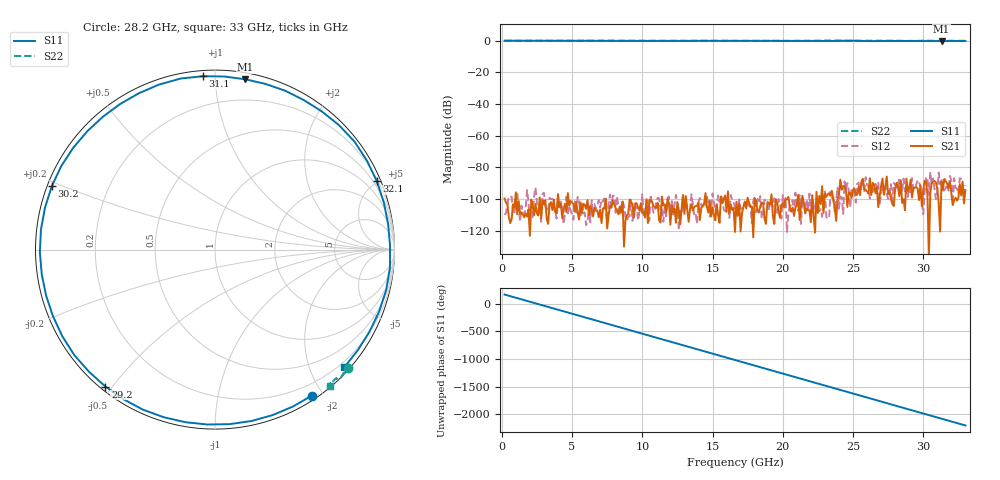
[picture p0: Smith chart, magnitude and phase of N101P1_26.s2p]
# GHZ S RI R 50
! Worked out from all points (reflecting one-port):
!   329 points, 200 MHz to 33 GHz, reference 50 ohm
!   lowest |S11| = -0.3 dB at 31.3 GHz (marker M1), VSWR 54.30, Z = 2.23 + j59.7 ohm
!   phase of S11 starts at 165 deg and turns -2368 deg over the sweep
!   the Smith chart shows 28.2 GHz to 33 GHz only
!   S11 on the Smith chart (normalised r, x): 28.2 GHz: 0.05, -1.86; 29.2 GHz: 0.01, -0.48; 30.2 GHz: 0.01, +0.19; 31.1 GHz: 0.03, +0.93; 32.1 GHz: 0.27, +4.93; 33 GHz: 0.10, -2.58
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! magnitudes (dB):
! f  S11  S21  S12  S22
! 200 MHz  0.0  -99.7  -110.2  0.0
! 5.7 GHz  -0.1  -109.1  -101.5  0.0
! 11.2 GHz  -0.2  -113.7  -99.8  0.0
! 16.6 GHz  -0.1  -120.9  -104.9  0.0
! 22.1 GHz  -0.2  -98.2  -97.6  -0.1
! 23.4 GHz  -0.1  -98.0  -95.3  0.0
! 23.6 GHz  -0.2  -101.1  -99.1  0.0
! 23.9 GHz  -0.1  -100.1  -92.9  0.1
! 24.1 GHz  -0.1  -87.9  -98.5  0.0
! 24.7 GHz  -0.2  -96.2  -94.7  0.0
! 25 GHz  0.0  -94.3  -95.2  0.0
! 25.6 GHz  -0.2  -88.9  -89.8  0.0
! 27.6 GHz  -0.2  -95.1  -94.9  0.0
! 28.2 GHz  -0.2  -92.1  -90.9  0.0
! 29.2 GHz  -0.2  -99.1  -86.9  -0.1
! 29.6 GHz  -0.2  -93.4  -88.1  -0.1
! 30.2 GHz  -0.2  -89.2  -86.3  0.0
! 31.1 GHz  -0.3  -103.0  -83.4  -0.1
! 31.3 GHz  -0.3  -89.1  -87.0  -0.1
! 31.9 GHz  -0.1  -89.2  -85.4  -0.1
! 32.1 GHz  -0.2  -103.9  -103.2  -0.2
! 33 GHz  -0.2  -94.5  -91.3  0.0
